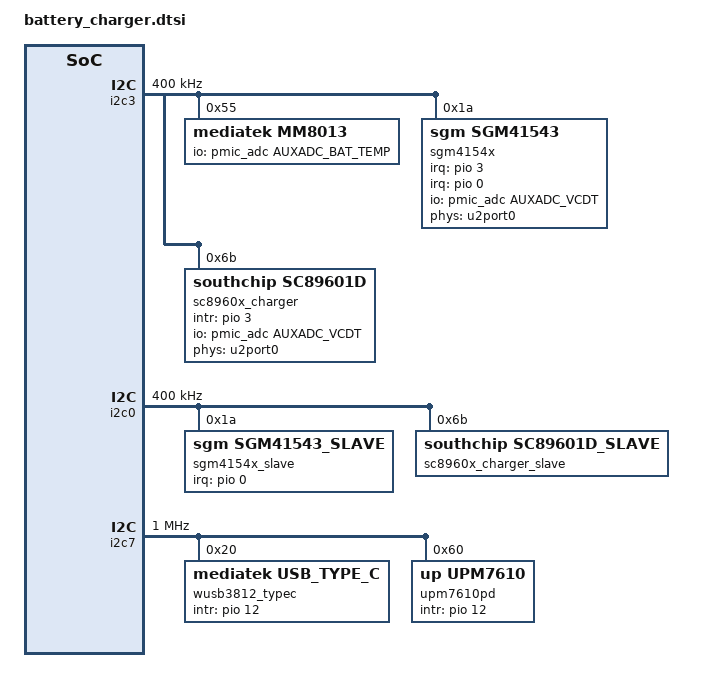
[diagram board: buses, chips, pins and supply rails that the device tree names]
#include <dt-bindings/iio/mt635x-auxadc.h>

/* Sycamore code for SYCAMORE-3753 by zhoujj21 at 20241119 start */
/* charge NTC */
&tboard_thermistor5 {
	compatible = "generic-adc-thermal";
	#thermal-sensor-cells = <0>;
	io-channels = <&auxadc 0>;
	io-channel-names = "sensor-channel";
	temperature-lookup-table =  <
			(-40000) 1760
			(-39000) 1757
			(-38000) 1754
			(-37000) 1751
			(-36000) 1747
			(-35000) 1744
			(-34000) 1740
			(-33000) 1736
			(-32000) 1731
			(-31000) 1727
			(-30000) 1722
			(-29000) 1716
			(-28000) 1711
			(-27000) 1705
			(-26000) 1699
			(-25000) 1693
			(-24000) 1686
			(-23000) 1679
			(-22000) 1672
			(-21000) 1664
			(-20000) 1656
			(-19000) 1648
			(-18000) 1639
			(-17000) 1630
			(-16000) 1620
			(-15000) 1610
			(-14000) 1599
			(-13000) 1588
			(-12000) 1577
			(-11000) 1565
			(-10000) 1553
			(-9000) 1540
			(-8000) 1527
			(-7000) 1514
			(-6000) 1500
			(-5000) 1485
			(-4000) 1470
			(-3000) 1455
			(-2000) 1439
			(-1000) 1423
			0 1406
			1000 1389
			2000 1372
			3000 1354
			4000 1335
			5000 1317
			6000 1298
			7000 1279
			8000 1259
			9000 1239
			10000 1219
			11000 1198
			12000 1178
			13000 1157
			14000 1136
			15000 1115
			16000 1093
			17000 1072
			18000 1050
			19000 1029
			20000 1007
			21000 986
			22000 964
			23000 943
			24000 921
			25000 900
			26000 879
			27000 858
			28000 837
			29000 816
			30000 796
			31000 775
			32000 755
			33000 736
			34000 716
			35000 697
			36000 678
			37000 659
			38000 641
			39000 623
			40000 605
			41000 588
			42000 571
			43000 555
			44000 538
			45000 523
			46000 507
			47000 492
			48000 477
			49000 463
			50000 449
			51000 435
			52000 422
			53000 409
			54000 396
			55000 384
			56000 372
			57000 360
			58000 349
			59000 338
			60000 327
			61000 317
			62000 307
			63000 297
			64000 288
			65000 279
			66000 270
			67000 261
			68000 253
			69000 245
			70000 237
			71000 230
			72000 222
			73000 215
			74000 209
			75000 202
			76000 196
			77000 189
			78000 183
			79000 178
			80000 172
			81000 167
			82000 161
			83000 156
			84000 151
			85000 147
			86000 142
			87000 138
			88000 133
			89000 129
			90000 125
			91000 121
			92000 118
			93000 114
			94000 111
			95000 107
			96000 104
			97000 101
			98000 98
			99000 95
			100000 92
			101000 89
			102000 87
			103000 84
			104000 81
			105000 79
			106000 77
			107000 74
			108000 72
			109000 70
			110000 68
			111000 66
			112000 64
			113000 62
			114000 61
			115000 59
			116000 57
			117000 56
			118000 54
			119000 52
			120000 51
			121000 50
			122000 48
			123000 47
			124000 46
			125000 44>;
};
/* Flash light NTC */
&tboard_thermistor6 {
	compatible = "generic-adc-thermal";
	#thermal-sensor-cells = <0>;
	io-channels = <&auxadc 1>;
	io-channel-names = "sensor-channel";
	temperature-lookup-table =  <
			(-40000) 1760
			(-39000) 1757
			(-38000) 1754
			(-37000) 1751
			(-36000) 1747
			(-35000) 1744
			(-34000) 1740
			(-33000) 1736
			(-32000) 1731
			(-31000) 1727
			(-30000) 1722
			(-29000) 1716
			(-28000) 1711
			(-27000) 1705
			(-26000) 1699
			(-25000) 1693
			(-24000) 1686
			(-23000) 1679
			(-22000) 1672
			(-21000) 1664
			(-20000) 1656
			(-19000) 1648
			(-18000) 1639
			(-17000) 1630
			(-16000) 1620
			(-15000) 1610
			(-14000) 1599
			(-13000) 1588
			(-12000) 1577
			(-11000) 1565
			(-10000) 1553
			(-9000) 1540
			(-8000) 1527
			(-7000) 1514
			(-6000) 1500
			(-5000) 1485
			(-4000) 1470
			(-3000) 1455
			(-2000) 1439
			(-1000) 1423
			0 1406
			1000 1389
			2000 1372
			3000 1354
			4000 1335
			5000 1317
			6000 1298
			7000 1279
			8000 1259
			9000 1239
			10000 1219
			11000 1198
			12000 1178
			13000 1157
			14000 1136
			15000 1115
			16000 1093
			17000 1072
			18000 1050
			19000 1029
			20000 1007
			21000 986
			22000 964
			23000 943
			24000 921
			25000 900
			26000 879
			27000 858
			28000 837
			29000 816
			30000 796
			31000 775
			32000 755
			33000 736
			34000 716
			35000 697
			36000 678
			37000 659
			38000 641
			39000 623
			40000 605
			41000 588
			42000 571
			43000 555
			44000 538
			45000 523
			46000 507
			47000 492
			48000 477
			49000 463
			50000 449
			51000 435
			52000 422
			53000 409
			54000 396
			55000 384
			56000 372
			57000 360
			58000 349
			59000 338
			60000 327
			61000 317
			62000 307
			63000 297
			64000 288
			65000 279
			66000 270
			67000 261
			68000 253
			69000 245
			70000 237
			71000 230
			72000 222
			73000 215
			74000 209
			75000 202
			76000 196
			77000 189
			78000 183
			79000 178
			80000 172
			81000 167
			82000 161
			83000 156
			84000 151
			85000 147
			86000 142
			87000 138
			88000 133
			89000 129
			90000 125
			91000 121
			92000 118
			93000 114
			94000 111
			95000 107
			96000 104
			97000 101
			98000 98
			99000 95
			100000 92
			101000 89
			102000 87
			103000 84
			104000 81
			105000 79
			106000 77
			107000 74
			108000 72
			109000 70
			110000 68
			111000 66
			112000 64
			113000 62
			114000 61
			115000 59
			116000 57
			117000 56
			118000 54
			119000 52
			120000 51
			121000 50
			122000 48
			123000 47
			124000 46
			125000 44>;
};
/* WIFI NTC */
&tboard_thermistor7 {
	compatible = "generic-adc-thermal";
	#thermal-sensor-cells = <0>;
	io-channels = <&auxadc 2>;
	io-channel-names = "sensor-channel";
	temperature-lookup-table =  <
			(-40000) 1760
			(-39000) 1757
			(-38000) 1754
			(-37000) 1751
			(-36000) 1747
			(-35000) 1744
			(-34000) 1740
			(-33000) 1736
			(-32000) 1731
			(-31000) 1727
			(-30000) 1722
			(-29000) 1716
			(-28000) 1711
			(-27000) 1705
			(-26000) 1699
			(-25000) 1693
			(-24000) 1686
			(-23000) 1679
			(-22000) 1672
			(-21000) 1664
			(-20000) 1656
			(-19000) 1648
			(-18000) 1639
			(-17000) 1630
			(-16000) 1620
			(-15000) 1610
			(-14000) 1599
			(-13000) 1588
			(-12000) 1577
			(-11000) 1565
			(-10000) 1553
			(-9000) 1540
			(-8000) 1527
			(-7000) 1514
			(-6000) 1500
			(-5000) 1485
			(-4000) 1470
			(-3000) 1455
			(-2000) 1439
			(-1000) 1423
			0 1406
			1000 1389
			2000 1372
			3000 1354
			4000 1335
			5000 1317
			6000 1298
			7000 1279
			8000 1259
			9000 1239
			10000 1219
			11000 1198
			12000 1178
			13000 1157
			14000 1136
			15000 1115
			16000 1093
			17000 1072
			18000 1050
			19000 1029
			20000 1007
			21000 986
			22000 964
			23000 943
			24000 921
			25000 900
			26000 879
			27000 858
			28000 837
			29000 816
			30000 796
			31000 775
			32000 755
			33000 736
			34000 716
			35000 697
			36000 678
			37000 659
			38000 641
			39000 623
			40000 605
			41000 588
			42000 571
			43000 555
			44000 538
			45000 523
			46000 507
			47000 492
			48000 477
			49000 463
			50000 449
			51000 435
			52000 422
			53000 409
			54000 396
			55000 384
			56000 372
			57000 360
			58000 349
			59000 338
			60000 327
			61000 317
			62000 307
			63000 297
			64000 288
			65000 279
			66000 270
			67000 261
			68000 253
			69000 245
			70000 237
			71000 230
			72000 222
			73000 215
			74000 209
			75000 202
			76000 196
			77000 189
			78000 183
			79000 178
			80000 172
			81000 167
			82000 161
			83000 156
			84000 151
			85000 147
			86000 142
			87000 138
			88000 133
			89000 129
			90000 125
			91000 121
			92000 118
			93000 114
			94000 111
			95000 107
			96000 104
			97000 101
			98000 98
			99000 95
			100000 92
			101000 89
			102000 87
			103000 84
			104000 81
			105000 79
			106000 77
			107000 74
			108000 72
			109000 70
			110000 68
			111000 66
			112000 64
			113000 62
			114000 61
			115000 59
			116000 57
			117000 56
			118000 54
			119000 52
			120000 51
			121000 50
			122000 48
			123000 47
			124000 46
			125000 44>;
};
/* USB NTC */
&tboard_thermistor8 {
	compatible = "generic-adc-thermal";
	#thermal-sensor-cells = <0>;
	io-channels = <&auxadc 3>;
	io-channel-names = "sensor-channel";
	temperature-lookup-table =  <
			(-40000) 1760
			(-39000) 1757
			(-38000) 1754
			(-37000) 1751
			(-36000) 1747
			(-35000) 1744
			(-34000) 1740
			(-33000) 1736
			(-32000) 1731
			(-31000) 1727
			(-30000) 1722
			(-29000) 1716
			(-28000) 1711
			(-27000) 1705
			(-26000) 1699
			(-25000) 1693
			(-24000) 1686
			(-23000) 1679
			(-22000) 1672
			(-21000) 1664
			(-20000) 1656
			(-19000) 1648
			(-18000) 1639
			(-17000) 1630
			(-16000) 1620
			(-15000) 1610
			(-14000) 1599
			(-13000) 1588
			(-12000) 1577
			(-11000) 1565
			(-10000) 1553
			(-9000) 1540
			(-8000) 1527
			(-7000) 1514
			(-6000) 1500
			(-5000) 1485
			(-4000) 1470
			(-3000) 1455
			(-2000) 1439
			(-1000) 1423
			0 1406
			1000 1389
			2000 1372
			3000 1354
			4000 1335
			5000 1317
			6000 1298
			7000 1279
			8000 1259
			9000 1239
			10000 1219
			11000 1198
			12000 1178
			13000 1157
			14000 1136
			15000 1115
			16000 1093
			17000 1072
			18000 1050
			19000 1029
			20000 1007
			21000 986
			22000 964
			23000 943
			24000 921
			25000 900
			26000 879
			27000 858
			28000 837
			29000 816
			30000 796
			31000 775
			32000 755
			33000 736
			34000 716
			35000 697
			36000 678
			37000 659
			38000 641
			39000 623
			40000 605
			41000 588
			42000 571
			43000 555
			44000 538
			45000 523
			46000 507
			47000 492
			48000 477
			49000 463
			50000 449
			51000 435
			52000 422
			53000 409
			54000 396
			55000 384
			56000 372
			57000 360
			58000 349
			59000 338
			60000 327
			61000 317
			62000 307
			63000 297
			64000 288
			65000 279
			66000 270
			67000 261
			68000 253
			69000 245
			70000 237
			71000 230
			72000 222
			73000 215
			74000 209
			75000 202
			76000 196
			77000 189
			78000 183
			79000 178
			80000 172
			81000 167
			82000 161
			83000 156
			84000 151
			85000 147
			86000 142
			87000 138
			88000 133
			89000 129
			90000 125
			91000 121
			92000 118
			93000 114
			94000 111
			95000 107
			96000 104
			97000 101
			98000 98
			99000 95
			100000 92
			101000 89
			102000 87
			103000 84
			104000 81
			105000 79
			106000 77
			107000 74
			108000 72
			109000 70
			110000 68
			111000 66
			112000 64
			113000 62
			114000 61
			115000 59
			116000 57
			117000 56
			118000 54
			119000 52
			120000 51
			121000 50
			122000 48
			123000 47
			124000 46
			125000 44>;
};
/* board NTC */
&tboard_thermistor9 {
	compatible = "generic-adc-thermal";
	#thermal-sensor-cells = <0>;
	io-channels = <&auxadc 5>;
	io-channel-names = "sensor-channel";
	temperature-lookup-table =  <
			(-40000) 1760
			(-39000) 1757
			(-38000) 1754
			(-37000) 1751
			(-36000) 1747
			(-35000) 1744
			(-34000) 1740
			(-33000) 1736
			(-32000) 1731
			(-31000) 1727
			(-30000) 1722
			(-29000) 1716
			(-28000) 1711
			(-27000) 1705
			(-26000) 1699
			(-25000) 1693
			(-24000) 1686
			(-23000) 1679
			(-22000) 1672
			(-21000) 1664
			(-20000) 1656
			(-19000) 1648
			(-18000) 1639
			(-17000) 1630
			(-16000) 1620
			(-15000) 1610
			(-14000) 1599
			(-13000) 1588
			(-12000) 1577
			(-11000) 1565
			(-10000) 1553
			(-9000) 1540
			(-8000) 1527
			(-7000) 1514
			(-6000) 1500
			(-5000) 1485
			(-4000) 1470
			(-3000) 1455
			(-2000) 1439
			(-1000) 1423
			0 1406
			1000 1389
			2000 1372
			3000 1354
			4000 1335
			5000 1317
			6000 1298
			7000 1279
			8000 1259
			9000 1239
			10000 1219
			11000 1198
			12000 1178
			13000 1157
			14000 1136
			15000 1115
			16000 1093
			17000 1072
			18000 1050
			19000 1029
			20000 1007
			21000 986
			22000 964
			23000 943
			24000 921
			25000 900
			26000 879
			27000 858
			28000 837
			29000 816
			30000 796
			31000 775
			32000 755
			33000 736
			34000 716
			35000 697
			36000 678
			37000 659
			38000 641
			39000 623
			40000 605
			41000 588
			42000 571
			43000 555
			44000 538
			45000 523
			46000 507
			47000 492
			48000 477
			49000 463
			50000 449
			51000 435
			52000 422
			53000 409
			54000 396
			55000 384
			56000 372
			57000 360
			58000 349
			59000 338
			60000 327
			61000 317
			62000 307
			63000 297
			64000 288
			65000 279
			66000 270
			67000 261
			68000 253
			69000 245
			70000 237
			71000 230
			72000 222
			73000 215
			74000 209
			75000 202
			76000 196
			77000 189
			78000 183
			79000 178
			80000 172
			81000 167
			82000 161
			83000 156
			84000 151
			85000 147
			86000 142
			87000 138
			88000 133
			89000 129
			90000 125
			91000 121
			92000 118
			93000 114
			94000 111
			95000 107
			96000 104
			97000 101
			98000 98
			99000 95
			100000 92
			101000 89
			102000 87
			103000 84
			104000 81
			105000 79
			106000 77
			107000 74
			108000 72
			109000 70
			110000 68
			111000 66
			112000 64
			113000 62
			114000 61
			115000 59
			116000 57
			117000 56
			118000 54
			119000 52
			120000 51
			121000 50
			122000 48
			123000 47
			124000 46
			125000 44>;
};
/* Sycamore code for SYCAMORE-3753 by zhoujj21 at 20241119 end */

&thermal_zones {
	charger_ntc {
		polling-delay = <0>; /* milliseconds */
		polling-delay-passive = <0>; /* milliseconds */
		thermal-sensors = <&tboard_thermistor5>;
	};

	flash_ntc {
		polling-delay = <0>; /* milliseconds */
		polling-delay-passive = <0>; /* milliseconds */
		thermal-sensors = <&tboard_thermistor6>;
	};

	wifi_ntc {
		polling-delay = <0>; /* milliseconds */
		polling-delay-passive = <0>; /* milliseconds */
		thermal-sensors = <&tboard_thermistor7>;
	};

	usb_ntc {
		polling-delay = <0>; /* milliseconds */
		polling-delay-passive = <0>; /* milliseconds */
		thermal-sensors = <&tboard_thermistor8>;
	};

	board_ntc {
		polling-delay = <0>; /* milliseconds */
		polling-delay-passive = <0>; /* milliseconds */
		thermal-sensors = <&tboard_thermistor9>;
	};
};

&lk_charger {
	enable_anime;
	/* enable_pe_plus; */
	enable_pd20_reset;
	power_path_support;
	/* Sycamore code for SYCAMORE-24287 by kangkai4 at 20250611 start */
	max_charger_voltage = <14000000>;
	/* Sycamore code for SYCAMORE-24287 by kangkai4 at 20250611 end */
	fast_charge_voltage = <3200000>;

	/* charging current */
	usb_charger_current = <500000>;
	ac_charger_current = <1400000>;
	ac_charger_input_current = <1500000>;
	non_std_ac_charger_current = <500000>;
	charging_host_charger_current = <1500000>;
	ta_ac_charger_current = <3000000>;
	pd_charger_current = <500000>;

	/* battery temperature protection */
	temp_t4_threshold = <50>;
	temp_t3_threshold = <45>;
	temp_t1_threshold = <0>;

	/* enable check vsys voltage */
	enable_check_vsys;
};


&pe {
	gauge = <&mm8013>;
};

&pe2 {
	gauge = <&mm8013>;
};

&pe45 {
	gauge = <&mm8013>;
};

&pe5 {
	gauge = <&mm8013>;
};

&pdc {
	gauge = <&mm8013>;
};

&charger{
	gauge = <&mm8013>;
	charger = <&mt6375_chg>;
	bootmode = <&chosen>;

	algorithm_name = "Basic";
	charger_configuration= <1>;

	/* common */
	battery_cv = <4520000>;
	/* Sycamore code for SYCAMORE-24287 by kangkai4 at 20250611 start */
	max_charger_voltage = <14000000>;
	/* Sycamore code for SYCAMORE-24287 by kangkai4 at 20250611 end */
	min_charger_voltage = <4600000>;

	/* sw jeita */
	enable-vbat-mon = <0>;
	enable_sw_jeita;
	jeita_temp_above_t4_cv = <4200000>;
	jeita_temp_t3_to_t4_cv = <4200000>;
	jeita_temp_t2_to_t3_cv = <4520000>;
	jeita_temp_t1_to_t2_cv = <4520000>;
	jeita_temp_t0_to_t1_cv = <4520000>;
	jeita_temp_below_t0_cv = <4520000>;
	/* Sycamore code for SYCAMORE-15732 by kangkai4 at 20250317 start */
	bc12_low_or_normal_temp_cv = <4490000>;
	/* Sycamore code for SYCAMORE-15732 by kangkai4 at 20250317 end */
	temp_t4_thres = <500>;
	temp_t4_thres_minus_x_degree = <470>;
	temp_t3_thres = <450>;
	temp_t3_thres_minus_x_degree = <1000>;
	temp_t2_thres = <150>;
	temp_t2_thres_plus_x_degree = <0>;
	temp_t1_thres = <0>;
	temp_t1_thres_plus_x_degree = <20>;
	temp_t0_thres = <0>;
	temp_t0_thres_plus_x_degree = <0>;
	temp_neg_10_thres = <0>;

	/* battery temperature protection */
	enable_min_charge_temp;
	min_charge_temp = <0>;
	min_charge_temp_plus_x_degree = <60>;
	max_charge_temp = <500>;
	max_charge_temp_minus_x_degree = <470>;

/* Sycamore code for SYCAMORE-5257 by zhoujj21 at 20250108 start */
/* Sycamore code for SYCAMORE-157 by zhoujj21 at 20241115 start */
	/* charging current */
	usb_charger_current = <500000>;
	ac_charger_current = <1400000>;
	ac_charger_input_current = <2000000>;
	charging_host_charger_current = <1500000>;
	apple_1_0a_charger_current = <1000000>;
	apple_2_1a_charger_current = <2000000>;

	/* lenovo fast-charging current */
	qc_charger_current = <5000000>;
	qc_charger_input_current = <2000000>;
	pd_charger_current = <5000000>;
	pd_charger_input_current = <2250000>;

	/* lenovo jeita ichg */
	jeita_temp_above_t4_ichg = <350000>;
	jeita_temp_t3_to_t4_ichg = <1400000>;
	jeita_temp_t2_to_t3_ichg = <5000000>;
	jeita_temp_t1_to_t2_ichg = <1400000>;
	jeita_temp_t0_to_t1_ichg = <350000>;
	jeita_temp_below_t0_ichg = <0>;

	/* lenovo charging iterm*/
	/* Sycamore code for SYCAMORE-15732 by kangkai4 at 20250317 start */
	bc12_low_temp_iterm_curr = <480000>;
	bc12_normal_temp_iterm_curr = <480000>;
	/* Sycamore code for SYCAMORE-15732 by kangkai4 at 20250317 end */
	high_temp_iterm_curr = <360000>;
	low_temp_iterm_curr = <460000>;
	normal_temp_iterm_curr = <700000>;
/* Sycamore code for SYCAMORE-157 by zhoujj21 at 20241115 end */
/* Sycamore code for SYCAMORE-5257 by zhoujj21 at 20250108 end */

	/* dynamic mivr */
	enable_dynamic_mivr;
	min_charger_voltage_0 = <4500000>;
	min_charger_voltage_1 = <4400000>;
	min_charger_voltage_2 = <4200000>;
	max_dmivr_charger_current = <1800000>;

	/* fast charging algo support indicator */
	enable_fast_charging_indicator;

	/* Sycamore code for SYCAMORE-219 by kangkai4 at 20241118 start */
	/* usb mos ctrl  gpio*/
	usb,ctrl-gpio = <&pio 46 0>;
	/* Sycamore code for SYCAMORE-219 by kangkai4 at 20241118 end */

	/* ScreenON thermal mitigation */
	battery,thermal-mitigation = <5000000 2000000 1400000 1200000 1000000 500000>;
	/* ScreenOFF thermal mitigation */
	battery,thermal-mitigation-screen-off = <5000000 1000000 500000>;
};

&mtk_gauge {
	DISABLE_MTKBATTERY = <1>;
	status = "disabled";
};

&i2c3 {

	clock-frequency = <400000>;
	status = "okay";

	mm8013: mm8013@55 {
		compatible = "mediatek,mm8013";
		reg = <0x55>;
		status = "okay";
/* Sycamore code for SYCAMORE-5024 by zhoujj21 at 20241231 start */
		io-channels = <&pmic_adc AUXADC_BAT_TEMP>;
		io-channel-names = "pmic_battery_temp";
/* Sycamore code for SYCAMORE-5024 by zhoujj21 at 20241231 end */
	};

	sgm4154x: sgm4154x@1A {
		status = "okay";
		compatible = "sgm,sgm41543";
		reg = <0x1A>;
		interrupt-parent = <&pio>;
		interrupts = <0 0>;            //irq num base on hardware design
		sgm,irq-gpio = <&pio 3 0>;     //irq num base on hardware design
		//sgm,chg-en-gpio = <&pio 0 0>;   //gpio num base on hardware design  1.MTK parent node name is pio  2.QUALCOMM parent node name is tlmm or other
		input-voltage-limit-microvolt = <5000000>;
		input-current-limit-microamp = <3000000>;
		io-channels = <&pmic_adc AUXADC_VCDT>;
		io-channel-names = "pmic_vbus";
		phys = <&u2port0 PHY_TYPE_USB2>;
		phy-names = "usb2-phy";
	};

	sc8960x_charger: sc8960x@6B {
		compatible = "southchip,sc89601d";
		reg = <0x6B>;
		status = "okay";
		sc8960x,intr-gpio = <&pio 3 IRQ_TYPE_EDGE_FALLING>;

		sc8960x,charger_name = "primary_chg";
		sc8960x,pfm-dis = <0>; /*0: enable, 1: disable*/
		sc8960x,vsys-min = <5>; /*0: 2.6V, 1: 2.8V, 2: 3.0V,
					3: 3.2V, 4: 3.4V, 5: 3.5V, 6:3.6V, 7: 3.7V*/
		sc8960x,vbat-low-otg = <0>; /*0: 2.8V, 1: 2.5V*/
		sc8960x,ipre-chg = <2>; /*60 + val * 60, unit:mA*/
		sc8960x,itermination = <2>; /*60 + val * 60, unit:mA*/
		sc8960x,vbat-volt = <44>; /*3848 + val * 8, unit:mV*/
		sc8960x,top-off-timer = <0>; /*0: dis, 1: 15min, 2: 20min 3: 45min*/
		sc8960x,vrechg-volt = <1>; /*0: 100mV, 1: 200mV*/
		sc8960x,en-termination = <1>; /*0: disable, 1: enable*/
		sc8960x,wdt-timer = <0>; /*0: disable, 1: 40s, 2: 80s, 3：160s*/
		sc8960x,en-chg-saft-timer = <0>; /*0: disable, 1: enable*/
		sc8960x,charge-timer = <1>; /*0: 5hrs, 1: 10hrs*/
		sc8960x,vac-ovp = <3>; /*0: 5.8V, 1: 6.4V, 2: 11V, 3: 14.2V*/
		sc8960x,iboost = <1>; /*0: 0.5A, 1: 1.2A*/
		sc8960x,vboost = <12>; /*3900 + val * 100, unit:mV*/
		sc8960x,vindpm-track = <0>; /*0: disable, 1:200mV, 2:250mV, 3:300mV*/
		sc8960x,vindpm-int-mask = <1>; /*0: not mask, 1: mask*/
		sc8960x,iindpm-int-mask = <1>; /*0: not mask, 1: mask*/
		sc8960x,vpre-to-cc = <0>; /*0: 3V, 1: 2.8V*/
		sc8960x,auto-dpdm-en = <0>; /*0: disale, 1: enable*/
		sc8960x,ntc-pin-dis = <1>; /*0: enable, 1: disable*/
		io-channels = <&pmic_adc AUXADC_VCDT>;
		io-channel-names = "pmic_vbus";
		phys = <&u2port0 PHY_TYPE_USB2>;
		phy-names = "usb2-phy";
	};

 };

&pio {
	i2c0_mode_default: i2c0_mode_default {
		pins_cmd_dat {
			pinmux = <PINMUX_GPIO127__FUNC_SCL0>,
			<PINMUX_GPIO128__FUNC_SDA0>;
			bias-pull-up = <MTK_PULL_SET_RSEL_111>;
		};
	};
};

 &i2c0 {
	pinctrl-names = "default";
	pinctrl-0 = <&i2c0_mode_default>;
	clock-frequency = <400000>;
	status = "okay";

	sgm4154x_slave: sgm4154x@1A {
		status = "okay";
		compatible = "sgm,sgm41543_slave";
		reg = <0x1A>;
		interrupt-parent = <&pio>;
		interrupts = <0 0>;            //irq num base on hardware design
		//sgm,irq-gpio = <&pio 2 0>;     //irq num base on hardware design
		//sgm,chg-en-gpio = <&pio 0 0>;   //gpio num base on hardware design  1.MTK parent node name is pio  2.QUALCOMM parent node name is tlmm or other
		input-voltage-limit-microvolt = <5000000>;
		input-current-limit-microamp = <3000000>;
	};

	sc8960x_charger_slave: sc8960x@6B {
		compatible = "southchip,sc89601d_slave";
		reg = <0x6B>;
		status = "okay";
		//sc8960x,intr-gpio = <&pio 2 IRQ_TYPE_EDGE_FALLING>;

		sc8960x,charger_name = "secondary_chg";
		sc8960x,pfm-dis = <0>; /*0: enable, 1: disable*/
		sc8960x,vsys-min = <5>; /*0: 2.6V, 1: 2.8V, 2: 3.0V,
					3: 3.2V, 4: 3.4V, 5: 3.5V, 6:3.6V, 7: 3.7V*/
		sc8960x,vbat-low-otg = <0>; /*0: 2.8V, 1: 2.5V*/
		sc8960x,ipre-chg = <2>; /*60 + val * 60, unit:mA*/
		sc8960x,itermination = <2>; /*60 + val * 60, unit:mA*/
		sc8960x,vbat-volt = <44>; /*3848 + val * 8, unit:mV*/
		sc8960x,top-off-timer = <0>; /*0: dis, 1: 15min, 2: 20min 3: 45min*/
		sc8960x,vrechg-volt = <0>; /*0: 100mV, 1: 200mV*/
		sc8960x,en-termination = <1>; /*0: disable, 1: enable*/
		sc8960x,wdt-timer = <0>; /*0: disable, 1: 40s, 2: 80s, 3：160s*/
		sc8960x,en-chg-saft-timer = <0>; /*0: disable, 1: enable*/
		sc8960x,charge-timer = <1>; /*0: 5hrs, 1: 10hrs*/
		sc8960x,vac-ovp = <3>; /*0: 5.8V, 1: 6.4V, 2: 11V, 3: 14.2V*/
		sc8960x,iboost = <1>; /*0: 0.5A, 1: 1.2A*/
		sc8960x,vboost = <12>; /*3900 + val * 100, unit:mV*/
		sc8960x,vindpm-track = <0>; /*0: disable, 1:200mV, 2:250mV, 3:300mV*/
		sc8960x,vindpm-int-mask = <1>; /*0: not mask, 1: mask*/
		sc8960x,iindpm-int-mask = <1>; /*0: not mask, 1: mask*/
		sc8960x,vpre-to-cc = <0>; /*0: 3V, 1: 2.8V*/
		sc8960x,auto-dpdm-en = <0>; /*0: disale, 1: enable*/
		sc8960x,ntc-pin-dis = <1>; /*0: enable, 1: disable*/
	};

 };

&i2c7 {

	clock-frequency = <1000000>;
	status = "okay";

	wusb3812_typec: type_c_port0@20 {
		reg = <0x20>;
		compatible = "mediatek,usb_type_c";
		status = "okay";
		ws-tcpc,name = "type_c_port0";
		wusb3812pd,intr_gpio_num = <12>;
		wusb3812pd,intr_gpio = <&pio 12 0x0>;
		ws-tcpc,role_def = <5>;
		ws-tcpc,rp_level = <0>;
		ws-tcpc,vconn_supply  = <0>;

		ws-tcpc,notifier_supply_num = <3>;

		pd-data {
			pd,vid = <0x34D0>;
			pd,pid = <0x0401>;
			pd,source-cap-ext = <0x7610362f 0x00000000 0x00000000
							0x00000000 0x00000000 0x02000000 >;
			pd,mfrs = "RichtekTCPC";
			pd,charging_policy= <0x31>;

			pd,source-pdo-size = <1>;
			pd,source-pdo-data = <0x00019032>;

			pd,sink-pdo-size = <2>;
			pd,sink-pdo-data = <0x000190c8 0x0002d0e1> ; //5V,2A 9V,2.25A
			pd,id-vdo-size = <6>;
			pd,id-vdo-data = <0xd140362f 0x0 0x76100000
					  0x41800000 0x0 0x21800000>;
			bat,nr = <1>;
			pd,country_nr = <0>;

			bat-info0 {
				bat,vid = <0x34D0>;
				bat,pid = <0x0401>;
				bat,mfrs = "bat1";
				bat,design_cap = <5000>;
			};
		};
		dpm_caps {
			local_dr_power;
			local_dr_data;
			local_usb_comm;
			local_vconn_supply;
			attemp_enter_dp_mode;
			attemp_discover_cable;
			attemp_discover_id;
			pr_check = <0>;
			dr_check = <0>;
		};
		displayport {
			/* connection type = "both", "ufp_d", "dfp_d" */
			1st_connection = "dfp_d";
			2nd_connection = "dfp_d";
			signal,dp_v13;
			//signal,dp_gen2;
			//usbr20_not_used;
			typec,receptacle;
			ufp_d {
				//pin_assignment,mode_a;
				//pin_assignment,mode_b;
				//pin_assignment,mode_c;
				//pin_assignment,mode_d;
				//pin_assignment,mode_e;
			};
			dfp_d {
				//pin_assignment,mode_a;
				//pin_assignment,mode_b;
				pin_assignment,mode_c;
				pin_assignment,mode_d;
				pin_assignment,mode_e;
				//pin_assignment,mode_f;
			};
		};
	};

};

&i2c7 {
	clock-frequency = <1000000>;
	status = "okay";

		upm7610pd: upm7610pd@60{
			compatible = "up,upm7610";
			reg = <0x60>;
			status = "okay";
			rt-tcpc,name = "type_c_port0"; /* tcpc_device's name */
			rt-tcpc,role_def = <5>; /* 0: Unknown, 1: SNK, 2: SRC */
						/* 3: DRP, 4: Try.SRC, 5: Try.SNK */
			rt-tcpc,rp_level = <0>; /* 0: Default, 1: 1.5, 2: 3.0 */
			rt-tcpc,vconn_supply  = <1>;  /* 0: Never, 1: Always, */
							/* 2: EMarkOnly, 3: StartOnly */
			rt-tcpc,notifier_supply_num = <3>;
			upm7610pd,intr_gpio = <&pio 12 0>;
			upm7610pd,intr_gpio_num = <12>;
			pd-data {
				pd,vid = <0x362f>;
				pd,pid = <0x7610>;
				pd,source-cap-ext = <0x7610362f 0x00000000 0x00000000
							0x00000000 0x00000000 0x02000000>;
				pd,mfrs = "UnisemipowerTCPC";

				/*
				*	VSAFE5V = 0, MAX_POWER = 1, CUSTOM = 2,
				*	MAX_POWER_LV = 0x21, MAX_POWER_LVIC = 0x31
				*	MAX_POWER_HV = 0x41, MAX_POWER_HVIC = 0x51
				*/
				pd,charging_policy= <0x31>;

				/*
				* Fixed 5V, 500 mA <0x00019032>
				* Fixed 5V, 1A <0x00019064>
				* Fixed 5V, 2A <0x000190c8>
				* Fixed 5V, 3A <0x0001912c>
				* Fixed 9V, 500 mA <0x0002d032>
				* Fixed 9V, 1A <0x0002d064>
				* Fixed 9V, 2A <0x0002d0c8>
				* Fixed 9V, 3A <0x0002d12c>
				* Variable 5-9V, 1A <0x8642d064>
				* Variable 5-9V, 2A <0x8642d0c8>
				* Variable 5-9V, 3A <0x8642d12c>
				* PPS 3V~5.9V, 3A <0xC0761E3C>
				*/
				pd,source-pdo-size = <1>;
				pd,source-pdo-data = <0x00019032>;
				pd,sink-pdo-size = <2>;
				pd,sink-pdo-data = <0x000190c8 0x0002d0e1 >; //5V,2A 9V,2.25A

				/*
				* No DP, host + device
				*	pd,id-vdo-size = <6>;
				*	pd,id-vdo-data = <0xd14029cf 0x0 0x17110000
							0x41800000 0x0 0x21800000>;
				* With DP
				*	pd,id-vdo-size = <6>;
				*	pd,id-vdo-data = <0xd54029cf 0x0 0x17110000
							0x41800000 0x0 0x21800000>;
				*/

				pd,id-vdo-size = <6>;
				pd,id-vdo-data = <0xd140362f 0x0 0x76100000
						0x41800000 0x0 0x21800000>;

				bat,nr = <1>;
				pd,country_nr = <0>;

				bat-info0 {
					bat,vid = <0x362f>;
					bat,pid = <0x7610>;
					bat,mfrs = "bat1";
					bat,design_cap = <5000>;
				};

				//bat-info1 {
				//	bat,vid = <0x8abc>;
				//	bat,pid = <0x5234>;
				//	bat,mfrs = "bat2";
				//	bat,design_cap = <4000>;
				//};

				//country0 {
				//	pd,country_code = <0x5457>;
				//	pd,country_len = <2>; /* max len = 26 */
				//	pd,country_data = <0xff 0xff>;
				//};

				//country1 {
				//	pd,country_code = <0x5553>;
				//	pd,country_len = <3>; /* max len = 26 */
				//	pd,country_data = <0xf1 0xf2 0xf3>;
				//};
			};
			dpm_caps {
				local_dr_power;
				local_dr_data;
				//local_ext_power;
				local_usb_comm;
				//local_usb_suspend;
				//local_high_cap;
				//local_give_back;
				local_no_suspend;
				local_vconn_supply;

				//attemp_discover_cable_dfp;
				attemp_enter_dp_mode;
				attemp_discover_cable;
				attemp_discover_id;

				/* 0: disable, 1: prefer_snk, 2: prefer_src */
				pr_check = <0>;
				//pr_reject_as_source;
				//pr_reject_as_sink;
				//pr_check_gp_source;
				//pr_check_gp_sink;

				/* 0: disable, 1: prefer_ufp, 2: prefer_dfp */
				dr_check = <0>;
				//dr_reject_as_dfp;
				//dr_reject_as_ufp;
			};
			displayport {
				/* connection type = "both", "ufp_d", "dfp_d" */
				1st_connection = "dfp_d";
				2nd_connection = "dfp_d";
				signal,dp_v13;
				//signal,dp_gen2;
				//usbr20_not_used;
				typec,receptacle;
				ufp_d {
					//pin_assignment,mode_a;
					//pin_assignment,mode_b;
					//pin_assignment,mode_c;
					//pin_assignment,mode_d;
					//pin_assignment,mode_e;
				};
				dfp_d {
					//pin_assignment,mode_a;
					//pin_assignment,mode_b;
					pin_assignment,mode_c;
					pin_assignment,mode_d;
					pin_assignment,mode_e;
					//pin_assignment,mode_f;
				};
			};
		};

};

